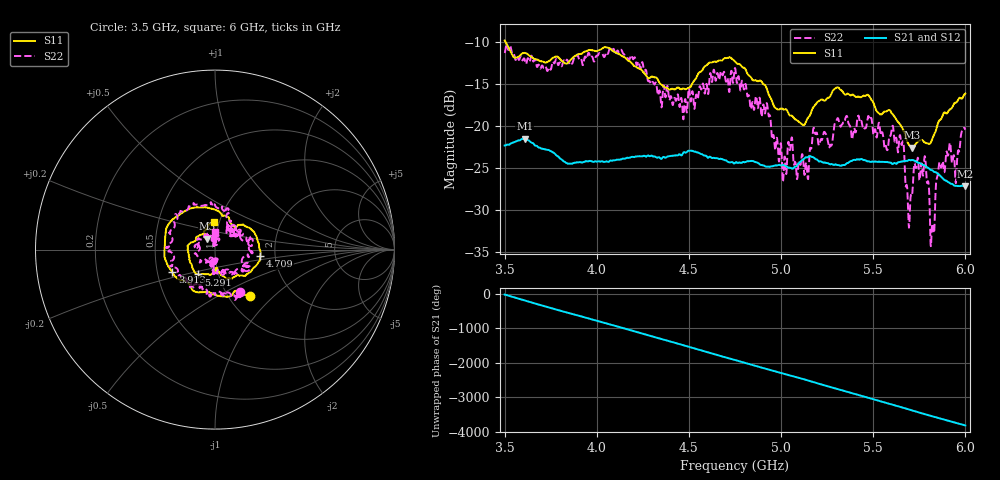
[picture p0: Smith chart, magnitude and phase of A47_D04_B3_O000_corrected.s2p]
! Created with skrf 1.9.0 (http://scikit-rf.org).
# Hz S RI R 50.0
!freq ReS11 ImS11 ReS21 ImS21 ReS12 ImS12 ReS22 ImS22
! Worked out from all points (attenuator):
!   1601 points, 3.5 GHz to 6 GHz, reference 50 ohm
!   highest |S21| = -21.49 dB at 3.609 GHz (marker M1); lowest = -27.1 dB at 5.998 GHz (marker M2)
!   lowest |S11| = -22.5 dB at 5.713 GHz (marker M3), VSWR 1.16, Z = 45.5 + j5.51 ohm
!   |S11| at or under -10 dB: 3.506 GHz to end of sweep
!   |S22| runs from -34.3 to -10.2 dB; largest |S21 - S12| = 0.00094
!   S11 on the Smith chart (normalised r, x): 3.5 GHz: 1.25, -0.72; 3.913 GHz: 0.60, -0.16; 4.709 GHz: 1.67, -0.13; 5.291 GHz: 0.80, -0.23; 6 GHz: 0.95, +0.30
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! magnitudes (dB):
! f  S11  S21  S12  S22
! 3.5 GHz  -9.8  -22.3  -22.3  -11.3
! 3.609 GHz  -11.3  -21.5  -21.5  -12.1
! 3.913 GHz  -11.4  -24.3  -24.2  -11.9
! 3.917 GHz  -11.4  -24.3  -24.3  -12.1
! 4.136 GHz  -11.6  -23.9  -23.9  -11.0
! 4.334 GHz  -14.6  -23.7  -23.6  -16.3
! 4.709 GHz  -11.9  -24.2  -24.1  -14.3
! 4.75 GHz  -12.3  -24.4  -24.3  -13.1
! 4.93 GHz  -16.0  -24.8  -24.7  -18.4
! 5.019 GHz  -18.0  -24.7  -24.6  -23.6
! 5.138 GHz  -19.3  -23.7  -23.6  -24.5
! 5.167 GHz  -18.1  -23.7  -23.6  -22.1
! 5.291 GHz  -15.6  -24.6  -24.5  -19.7
! 5.584 GHz  -18.1  -24.3  -24.3  -21.7
! 5.655 GHz  -20.1  -24.2  -24.1  -22.2
! 5.697 GHz  -22.3  -24.0  -23.9  -31.2
! 5.713 GHz  -22.5  -24.0  -23.9  -27.9
! 5.786 GHz  -22.0  -24.8  -24.7  -24.9
! 5.822 GHz  -21.4  -25.3  -25.2  -31.6
! 5.855 GHz  -19.4  -25.7  -25.6  -24.9
! 5.998 GHz  -16.1  -27.1  -27.0  -20.4
! 6 GHz  -16.1  -27.1  -27.1  -20.4
